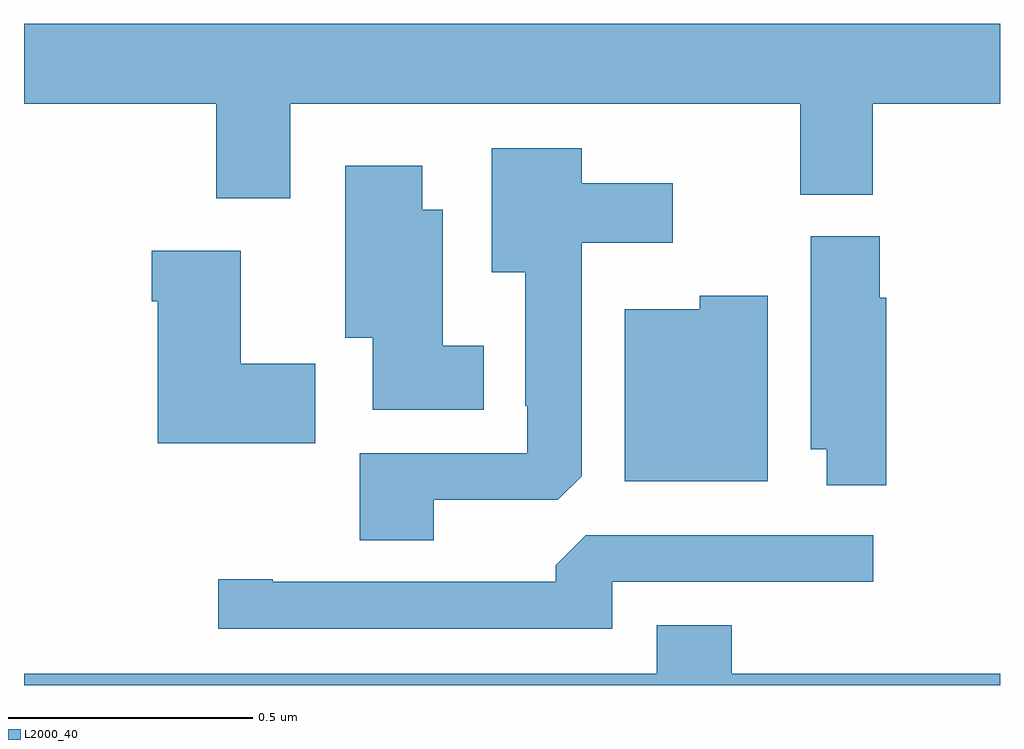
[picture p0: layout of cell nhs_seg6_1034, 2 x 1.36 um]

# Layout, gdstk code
import gdstk
lib = gdstk.Library(unit=1e-6, precision=1e-09)
def P(c, l, *ps):  # polygons
    for p in ps: c.add(gdstk.Polygon(p, *l))
L2000_40 = (2000, 40)

nhs_seg6_1034 = lib.new_cell('nhs_seg6_1034')
P(nhs_seg6_1034, L2000_40, [(124.546,924.692),(125.591,924.692),(125.591,924.505),(125.739,924.505),(125.739,924.692),(126,924.692),(126,924.856),(124,924.856),(124,924.692),(124.394,924.692),(124.394,924.498),(124.546,924.498)],
  [(124.84,923.88),(125.094,923.88),(125.143,923.929),(125.143,924.407),(125.329,924.407),(125.329,924.529),(125.143,924.529),(125.143,924.601),(124.958,924.601),(124.958,924.347),(125.027,924.347),(125.027,924.073),(125.031,924.073),(125.031,923.976),(124.688,923.976),(124.688,923.797),(124.84,923.797)],
  [(124.942,924.196),(124.858,924.196),(124.858,924.475),(124.816,924.475),(124.816,924.565),(124.658,924.565),(124.658,924.212),(124.715,924.212),(124.715,924.065),(124.942,924.065)],
  [(125.767,924.294),(125.754,924.294),(125.754,924.42),(125.612,924.42),(125.612,923.984),(125.645,923.984),(125.645,923.91),(125.767,923.91)],
  [(124.597,924.159),(124.444,924.159),(124.444,924.391),(124.262,924.391),(124.262,924.287),(124.274,924.287),(124.274,923.996),(124.597,923.996)],
  [(125.524,924.298),(125.385,924.298),(125.385,924.271),(125.231,924.271),(125.231,923.918),(125.524,923.918)],
  [(125.205,923.712),(125.74,923.712),(125.74,923.808),(125.151,923.808),(125.09,923.746),(125.09,923.712),(124.51,923.712),(124.51,923.717),(124.398,923.717),(124.398,923.616),(125.205,923.616)],
  [(126,923.524),(125.45,923.524),(125.45,923.623),(125.297,923.623),(125.297,923.524),(124,923.524),(124,923.5),(126,923.5)])

lib.write_gds('nhs_seg6_1034.gds')
